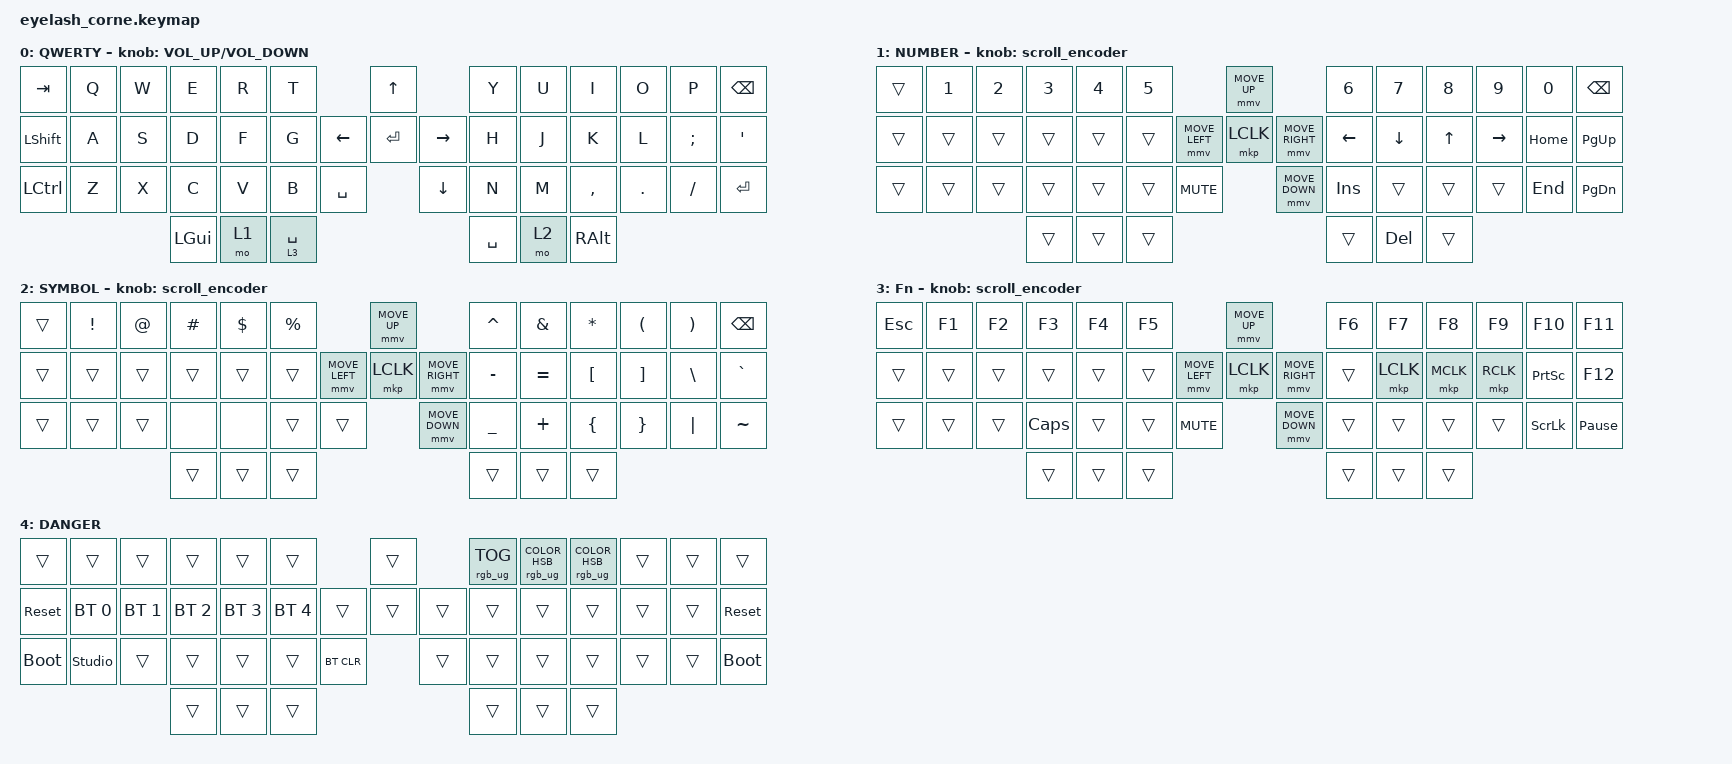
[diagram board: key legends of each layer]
#include <dt-bindings/zmk/mouse.h>
#include <input/processors.dtsi>
#include <behaviors.dtsi>
#include <dt-bindings/zmk/bt.h>
#include <dt-bindings/zmk/keys.h>
#include <dt-bindings/zmk/pointing.h>
#include <dt-bindings/zmk/rgb.h>

/*

   &mmv_input_listener {
       input-processors = <&zip_xy_scaler 2 1>;
   };

   &msc_input_listener {
       input-processors = <&zip_xy_scaler 2 1>;
   };

 */

#define ZMK_MOUSE_DEFAULT_MOVE_VAL 1200  // 600
#define ZMK_MOUSE_DEFAULT_SCRL_VAL 20    // 10

/ {
    behaviors {
        td0: td0 {
            compatible = "zmk,behavior-tap-dance";
            display-name = "Shift/Caps Lock Tap Dance";
            #binding-cells = <0>;
            bindings = <&kp LEFT_SHIFT>, <&kp CAPS>;
        };
    };

    rgb_encoder: rgb_encoder {
        compatible = "zmk,behavior-sensor-rotate";
        #sensor-binding-cells = <0>;
        bindings = <&rgb_ug RGB_BRI>, <&rgb_ug RGB_BRD>;
    };

    scroll_encoder: scroll_encoder {
        compatible = "zmk,behavior-sensor-rotate";
        #sensor-binding-cells = <0>;
        bindings = <&msc SCRL_DOWN>, <&msc SCRL_UP>;

        tap-ms = <30>;
    };

    combos {
        compatible = "zmk,combos";

        combo_escape {
            bindings = <&kp ESCAPE>;
            key-positions = <0 1>;
        };
    };

    keymap {
        compatible = "zmk,keymap";

        default_layer {
            display-name = "QWERTY";
            bindings = <
&kp TAB         &kp Q  &kp W  &kp E     &kp R  &kp T                               &kp UP                &kp Y      &kp U  &kp I      &kp O    &kp P     &kp BSPC
&kp LEFT_SHIFT  &kp A  &kp S  &kp D     &kp F  &kp G                     &kp LEFT  &kp ENTER  &kp RIGHT  &kp H      &kp J  &kp K      &kp L    &kp SEMI  &kp SQT
&kp LCTRL       &kp Z  &kp X  &kp C     &kp V  &kp B        &kp SPACE              &kp DOWN              &kp N      &kp M  &kp COMMA  &kp DOT  &kp FSLH  &kp RET
                              &kp LGUI  &mo 1  &lt 3 SPACE                                               &kp SPACE  &mo 2  &kp RALT
            >;

            sensor-bindings = <&inc_dec_kp C_VOLUME_UP C_VOLUME_DOWN>;
        };

        lower_layer {
            display-name = "NUMBER";
            bindings = <
&trans  &kp N1  &kp N2  &kp N3  &kp N4  &kp N5                                &mmv MOVE_UP                     &kp N6      &kp N7    &kp N8  &kp N9     &kp N0    &kp BSPC
&trans  &trans  &trans  &trans  &trans  &trans                &mmv MOVE_LEFT  &mkp LCLK       &mmv MOVE_RIGHT  &kp LEFT    &kp DOWN  &kp UP  &kp RIGHT  &kp HOME  &kp PG_UP
&trans  &trans  &trans  &trans  &trans  &trans  &kp C_MUTE                    &mmv MOVE_DOWN                   &kp INSERT  &trans    &trans  &trans     &kp END   &kp PG_DN
                        &trans  &trans  &trans                                                                 &trans      &kp DEL   &trans
            >;

            sensor-bindings = <&scroll_encoder>;
        };

        raise_layer {
            display-name = "SYMBOL";
            bindings = <
&trans  &kp EXCL  &kp AT  &kp HASH  &kp DLLR  &kp PRCNT                            &mmv MOVE_UP                     &kp CARET  &kp AMPS   &kp ASTRK  &kp LPAR  &kp RPAR  &kp BSPC
&trans  &trans    &trans  &trans    &trans    &trans               &mmv MOVE_LEFT  &mkp LCLK       &mmv MOVE_RIGHT  &kp MINUS  &kp EQUAL  &kp LBKT   &kp RBKT  &kp BSLH  &kp GRAVE
&trans  &trans    &trans  &none     &none     &trans     &trans                    &mmv MOVE_DOWN                   &kp UNDER  &kp PLUS   &kp LBRC   &kp RBRC  &kp PIPE  &kp TILDE
                          &trans    &trans    &trans                                                                &trans     &trans     &trans
            >;

            sensor-bindings = <&scroll_encoder>;
        };

        layer_3 {
            display-name = "Fn";
            bindings = <
&kp ESCAPE  &kp F1  &kp F2  &kp F3    &kp F4  &kp F5                                &mmv MOVE_UP                     &kp F6  &kp F7     &kp F8     &kp F9     &kp F10          &kp F11
&trans      &trans  &trans  &trans    &trans  &trans                &mmv MOVE_LEFT  &mkp LCLK       &mmv MOVE_RIGHT  &trans  &mkp LCLK  &mkp MCLK  &mkp RCLK  &kp PRINTSCREEN  &kp F12
&trans      &trans  &trans  &kp CAPS  &trans  &trans  &kp C_MUTE                    &mmv MOVE_DOWN                   &trans  &trans     &trans     &trans     &kp SCROLLLOCK   &kp PAUSE_BREAK
                            &trans    &trans  &trans                                                                 &trans  &trans     &trans
            >;

            sensor-bindings = <&scroll_encoder>;
        };

        Danger {
            bindings = <
&trans       &trans          &trans        &trans        &trans        &trans                              &trans          &rgb_ug RGB_TOG  &rgb_ug RGB_COLOR_HSB(0,100,50)  &rgb_ug RGB_COLOR_HSB(335,100,42)  &trans  &trans  &trans
&sys_reset   &bt BT_SEL 0    &bt BT_SEL 1  &bt BT_SEL 2  &bt BT_SEL 3  &bt BT_SEL 4                &trans  &trans  &trans  &trans           &trans                           &trans                             &trans  &trans  &sys_reset
&bootloader  &studio_unlock  &trans        &trans        &trans        &trans        &bt BT_CLR            &trans          &trans           &trans                           &trans                             &trans  &trans  &bootloader
                                           &trans        &trans        &trans                                              &trans           &trans                           &trans
            >;

            label = "DANGER";
        };
    };

    conditional_layers {
        compatible = "zmk,conditional-layers";

        DangerLayer {
            if-layers = <2 1>;
            then-layer = <4>;
        };
    };
};
